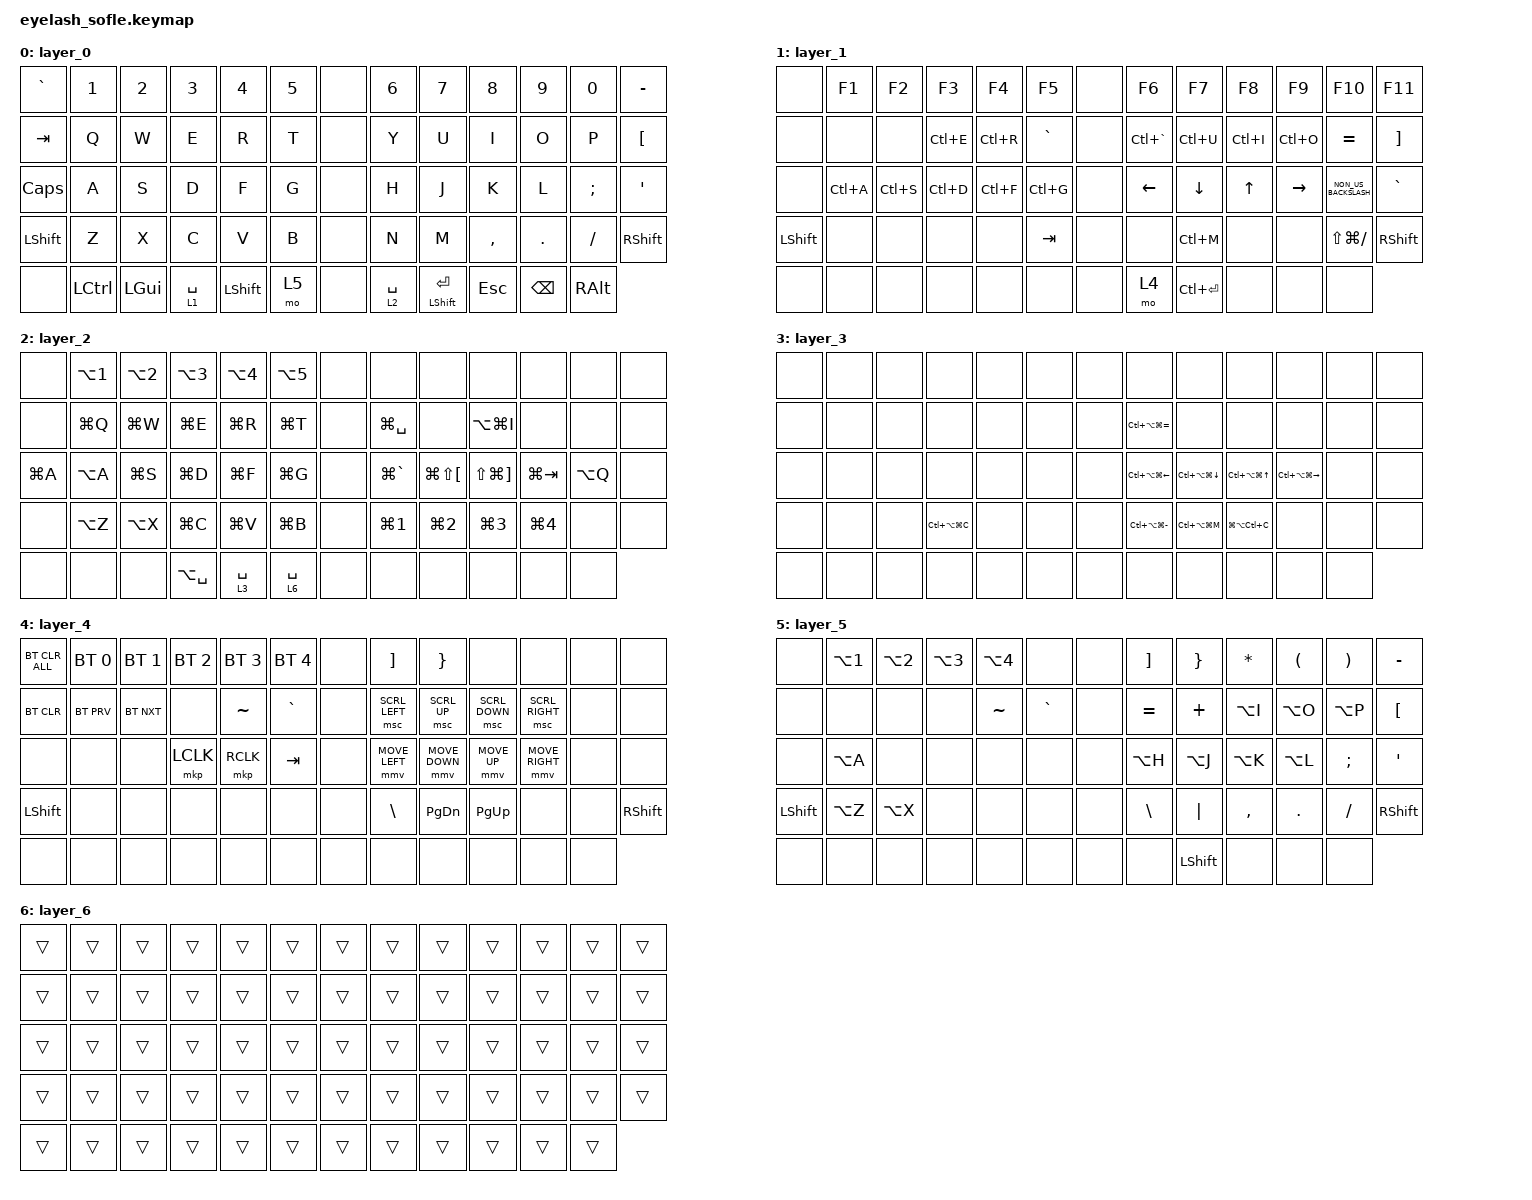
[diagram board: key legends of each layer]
#define ZMK_POINTING_DEFAULT_MOVE_VAL 1200  // 600
#define ZMK_POINTING_DEFAULT_SCRL_VAL 25   // 10

#include <input/processors.dtsi>
#include <zephyr/dt-bindings/input/input-event-codes.h>
#include <behaviors.dtsi>
#include <dt-bindings/zmk/bt.h>
#include <dt-bindings/zmk/keys.h>
#include <dt-bindings/zmk/pointing.h>

&mmv_input_listener { input-processors = <&zip_xy_scaler 2 1>; };

&msc_input_listener { input-processors = <&zip_scroll_scaler 2 1>; };

&msc {
    acceleration-exponent = <1>;      // 0
    time-to-max-speed-ms = <100>;       // 300
    delay-ms = <0>;                   // 0
};

&mmv {
    time-to-max-speed-ms = <500>;
    acceleration-exponent = <1>;
    trigger-period-ms = <16>;
};

&soft_off { hold-time-ms = <2000>; };

/ {
    scroll_encoder: scroll_encoder {
        compatible = "zmk,behavior-sensor-rotate";
        #sensor-binding-cells = <0>;
        bindings = <&msc SCRL_DOWN>, <&msc SCRL_UP>;

        tap-ms = <100>;
    };

    behaviors {
    };

    combos {
        compatible = "zmk,combos";

        softoff {
            bindings = <&soft_off>;
            key-positions = <14 28 40>;
        };
    };

    keymap {
        compatible = "zmk,keymap";

        layer_0 {
            bindings = <
&kp GRAVE  &kp NUMBER_1  &kp NUMBER_2  &kp NUMBER_3  &kp NUMBER_4  &kp N5    &none  &kp N6       &kp N7                &kp N8     &kp N9    &kp N0    &kp MINUS
&kp TAB    &kp Q         &kp W         &kp E         &kp R         &kp T     &none  &kp Y        &kp U                 &kp I      &kp O     &kp P     &kp LBKT
&kp CAPS   &kp A         &kp S         &kp D         &kp F         &kp G     &none  &kp H        &kp J                 &kp K      &kp L     &kp SEMI  &kp SQT
&kp LSHFT  &kp Z         &kp X         &kp C         &kp V         &kp B     &none  &kp N        &kp M                 &kp COMMA  &kp DOT   &kp FSLH  &kp RSHFT
&none      &kp LCTRL     &kp LGUI      &lt 1 SPACE   &kp LSHFT     &mo 5     &none  &lt 2 SPACE  &mt LEFT_SHIFT ENTER  &kp ESC    &kp BSPC  &kp RALT
            >;
        };

        layer_1 {
            bindings = <
&none           &kp F1     &kp F2     &kp F3     &kp F4     &kp F5       &none  &kp F6         &kp F7         &kp F8     &kp F9     &kp F10               &kp F11
&none           &none      &none      &kp LC(E)  &kp LC(R)  &kp GRAVE    &none  &kp LC(GRAVE)  &kp LC(U)      &kp LC(I)  &kp LC(O)  &kp EQUAL             &kp RIGHT_BRACKET
&none           &kp LC(A)  &kp LC(S)  &kp LC(D)  &kp LC(F)  &kp LC(G)    &none  &kp LEFT       &kp DOWN       &kp UP     &kp RIGHT  &kp NON_US_BACKSLASH  &kp GRAVE
&kp LEFT_SHIFT  &none      &none      &none      &none      &kp TAB      &none  &none          &kp LC(M)      &none      &none      &kp LS(LG(SLASH))     &kp RIGHT_SHIFT
&none           &none      &none      &none      &none      &none        &none  &mo 4          &kp LC(ENTER)  &none      &none      &none
            >;
        };

        layer_2 {
            bindings = <
&none      &kp LA(N1)  &kp LA(N2)  &kp LA(N3)     &kp LA(N4)   &kp LA(N5)     &none  &none          &none             &none             &none        &none      &none
&none      &kp LG(Q)   &kp LG(W)   &kp LG(E)      &kp LG(R)    &kp LG(T)      &none  &kp LG(SPACE)  &none             &kp LA(LG(I))     &none        &none      &none
&kp LG(A)  &kp LA(A)   &kp LG(S)   &kp LG(D)      &kp LG(F)    &kp LG(G)      &none  &kp LG(GRAVE)  &kp LG(LS(LBKT))  &kp LS(LG(RBKT))  &kp LG(TAB)  &kp LA(Q)  &none
&none      &kp LA(Z)   &kp LA(X)   &kp LG(C)      &kp LG(V)    &kp LG(B)      &none  &kp LG(N1)     &kp LG(N2)        &kp LG(N3)        &kp LG(N4)   &none      &none
&none      &none       &none       &kp LA(SPACE)  &lt 3 SPACE  &lt 6 SPACE    &none  &none          &none             &none             &none        &none
            >;
        };

        layer_3 {
            bindings = <
&none  &none  &none  &none              &none  &none    &none  &none                  &none                 &none               &none                  &none  &none
&none  &none  &none  &none              &none  &none    &none  &kp LC(LA(LG(EQUAL)))  &none                 &none               &none                  &none  &none
&none  &none  &none  &none              &none  &none    &none  &kp LC(LA(LG(LEFT)))   &kp LC(LA(LG(DOWN)))  &kp LC(LA(LG(UP)))  &kp LC(LA(LG(RIGHT)))  &none  &none
&none  &none  &none  &kp LC(LA(LG(C)))  &none  &none    &none  &kp LC(LA(LG(MINUS)))  &kp LC(LA(LG(M)))     &kp LG(LA(LC(C)))   &none                  &none  &none
&none  &none  &none  &none              &none  &none    &none  &none                  &none                 &none               &none                  &none
            >;
        };

        layer_4 {
            bindings = <
&bt BT_CLR_ALL  &bt BT_SEL 0  &bt BT_SEL 1  &bt BT_SEL 2  &bt BT_SEL 3  &bt BT_SEL 4    &none  &kp RBKT        &kp RIGHT_BRACE  &none           &none            &none  &none
&bt BT_CLR      &bt BT_PRV    &bt BT_NXT    &none         &kp TILDE     &kp GRAVE       &none  &msc SCRL_LEFT  &msc SCRL_UP     &msc SCRL_DOWN  &msc SCRL_RIGHT  &none  &none
&none           &none         &none         &mkp LCLK     &mkp RCLK     &kp TAB         &none  &mmv MOVE_LEFT  &mmv MOVE_DOWN   &mmv MOVE_UP    &mmv MOVE_RIGHT  &none  &none
&kp LSHFT       &none         &none         &none         &none         &none           &none  &kp BSLH        &kp PAGE_DOWN    &kp PAGE_UP     &none            &none  &kp RSHFT
&none           &none         &none         &none         &none         &none           &none  &none           &none            &none           &none            &none
            >;
        };

        layer_5 {
            bindings = <
&none           &kp LA(N1)  &kp LA(N2)  &kp LA(N3)  &kp LA(N4)  &none        &none  &kp RBKT   &kp RIGHT_BRACE  &kp ASTERISK  &kp LEFT_PARENTHESIS  &kp RIGHT_PARENTHESIS  &kp MINUS
&none           &none       &none       &none       &kp TILDE   &kp GRAVE    &none  &kp EQUAL  &kp PLUS         &kp LA(I)     &kp LA(O)             &kp LA(P)              &kp LBKT
&none           &kp LA(A)   &none       &none       &none       &none        &none  &kp LA(H)  &kp LA(J)        &kp LA(K)     &kp LA(L)             &kp SEMI               &kp SQT
&kp LEFT_SHIFT  &kp LA(Z)   &kp LA(X)   &none       &none       &none        &none  &kp BSLH   &kp PIPE         &kp COMMA     &kp DOT               &kp FSLH               &kp RSHFT
&none           &none       &none       &none       &none       &none        &none  &none      &kp LSHFT        &none         &none                 &none
            >;
        };

        layer_6 {
            bindings = <
&trans  &trans  &trans  &trans  &trans  &trans    &trans  &trans  &trans  &trans  &trans  &trans  &trans
&trans  &trans  &trans  &trans  &trans  &trans    &trans  &trans  &trans  &trans  &trans  &trans  &trans
&trans  &trans  &trans  &trans  &trans  &trans    &trans  &trans  &trans  &trans  &trans  &trans  &trans
&trans  &trans  &trans  &trans  &trans  &trans    &trans  &trans  &trans  &trans  &trans  &trans  &trans
&trans  &trans  &trans  &trans  &trans  &trans    &trans  &trans  &trans  &trans  &trans  &trans
            >;
        };
    };
};
